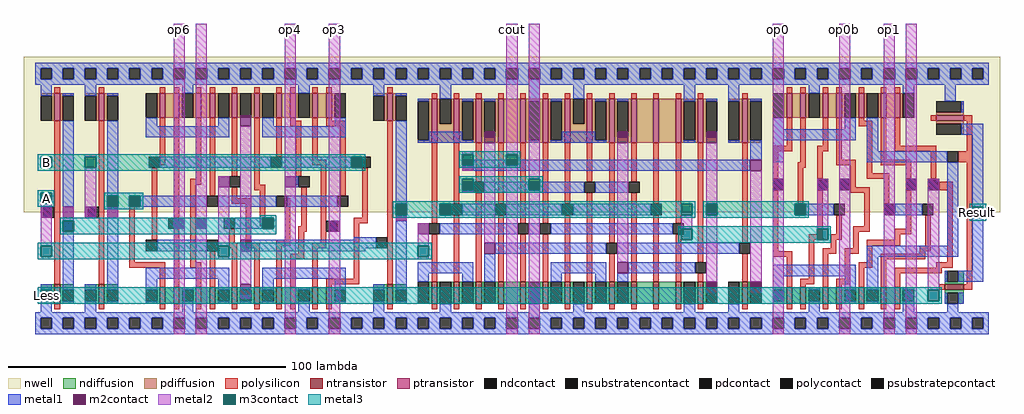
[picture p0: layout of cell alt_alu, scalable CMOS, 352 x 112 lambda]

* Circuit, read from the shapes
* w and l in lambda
.subckt alt_alu A B Gnd! Less Result Vdd! cin cout op0 op0b op1 op1b op3 op4 op5 op6
M1 mux4_dp_1x_0/s1b A Gnd! Gnd! nfet w=7 l=2
M2 mux4_dp_1x_0/s0b B Gnd! Gnd! nfet w=7 l=2
M3 n1 mux4_dp_1x_0/s0b n2 Gnd! nfet w=6 l=2
M4 Gnd! op6 n1 Gnd! nfet w=6 l=2
M5 n3 op5 Gnd! Gnd! nfet w=6 l=2
M6 n2 B n3 Gnd! nfet w=6 l=2
M7 n4 mux4_dp_1x_0/s1b n2 Gnd! nfet w=6 l=2
M8 n5 A n4 Gnd! nfet w=6 l=2
M9 n6 mux4_dp_1x_0/s0b n5 Gnd! nfet w=6 l=2
M10 Gnd! op4 n6 Gnd! nfet w=6 l=2
M11 n7 op3 Gnd! Gnd! nfet w=6 l=2
M12 n5 B n7 Gnd! nfet w=6 l=2
M13 fulladder_0/b n4 Gnd! Gnd! nfet w=7 l=2
M14 Gnd! A n8 Gnd! nfet w=8 l=2
M15 n8 fulladder_0/b Gnd! Gnd! nfet w=8 l=2
M16 n9 cin n8 Gnd! nfet w=8 l=2
M17 n10 fulladder_0/b n9 Gnd! nfet w=8 l=2
M18 Gnd! A n10 Gnd! nfet w=8 l=2
M19 n11 A Gnd! Gnd! nfet w=8 l=2
M20 Gnd! fulladder_0/b n11 Gnd! nfet w=8 l=2
M21 n11 cin Gnd! Gnd! nfet w=8 l=2
M22 n12 n9 n11 Gnd! nfet w=8 l=2
M23 n13 cin n12 Gnd! nfet w=8 l=2
M24 n14 fulladder_0/b n13 Gnd! nfet w=8 l=2
M25 Gnd! A n14 Gnd! nfet w=8 l=2
M26 mux3_dp_1x_0/d0 n12 Gnd! Gnd! nfet w=8 l=2
M27 cout n9 Gnd! Gnd! nfet w=8 l=2
M28 n15 op0 n16 Gnd! nfet w=6 l=2
M29 Gnd! fulladder_0/b n15 Gnd! nfet w=6 l=2
M30 n17 mux3_dp_1x_0/d0 Gnd! Gnd! nfet w=6 l=2
M31 n16 op0b n17 Gnd! nfet w=6 l=2
M32 n18 op1b n16 Gnd! nfet w=6 l=2
M33 n19 op1 n18 Gnd! nfet w=6 l=2
M34 Gnd! Less n19 Gnd! nfet w=6 l=2
M35 Result n18 Gnd! Gnd! nfet w=7 l=2
M36 mux4_dp_1x_0/s1b A Vdd! Vdd! pfet w=10 l=2
M37 mux4_dp_1x_0/s0b B Vdd! Vdd! pfet w=10 l=2
M38 n20 B n21 Vdd! pfet w=9 l=2
M39 Vdd! op6 n20 Vdd! pfet w=9 l=2
M40 n22 op5 Vdd! Vdd! pfet w=9 l=2
M41 n21 mux4_dp_1x_0/s0b n22 Vdd! pfet w=9 l=2
M42 n4 A n21 Vdd! pfet w=9 l=2
M43 n23 mux4_dp_1x_0/s1b n4 Vdd! pfet w=9 l=2
M44 n24 B n23 Vdd! pfet w=9 l=2
M45 Vdd! op4 n24 Vdd! pfet w=9 l=2
M46 n25 op3 Vdd! Vdd! pfet w=9 l=2
M47 n23 mux4_dp_1x_0/s0b n25 Vdd! pfet w=9 l=2
M48 fulladder_0/b n4 Vdd! Vdd! pfet w=10 l=2
M49 Vdd! A n26 Vdd! pfet w=16 l=2
M50 n26 fulladder_0/b Vdd! Vdd! pfet w=16 l=2
M51 n9 cin n26 Vdd! pfet w=16 l=2
M52 n27 fulladder_0/b n9 Vdd! pfet w=16 l=2
M53 Vdd! A n27 Vdd! pfet w=16 l=2
M54 n28 A Vdd! Vdd! pfet w=16 l=2
M55 Vdd! fulladder_0/b n28 Vdd! pfet w=16 l=2
M56 n28 cin Vdd! Vdd! pfet w=16 l=2
M57 n12 n9 n28 Vdd! pfet w=16 l=2
M58 n29 cin n12 Vdd! pfet w=16 l=2
M59 n30 fulladder_0/b n29 Vdd! pfet w=16 l=2
M60 Vdd! A n30 Vdd! pfet w=16 l=2
M61 mux3_dp_1x_0/d0 n12 Vdd! Vdd! pfet w=16 l=2
M62 cout n9 Vdd! Vdd! pfet w=16 l=2
M63 n31 op0 n32 Vdd! pfet w=9 l=2
M64 Vdd! mux3_dp_1x_0/d0 n31 Vdd! pfet w=9 l=2
M65 n33 fulladder_0/b Vdd! Vdd! pfet w=9 l=2
M66 n32 op0b n33 Vdd! pfet w=9 l=2
M67 n18 op1 n32 Vdd! pfet w=9 l=2
M68 n34 op1b n18 Vdd! pfet w=9 l=2
M69 Vdd! Less n34 Vdd! pfet w=9 l=2
M70 Vdd! n18 Result Vdd! pfet w=10 l=2
.ends

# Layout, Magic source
magic
tech scmos
<< metal2 >>
rect 22 64 26 65
rect 6 32 10 47
rect 14 41 18 46
rect 22 42 26 60
rect 30 42 34 46
rect 14 36 18 37
rect 54 0 58 112
rect 62 0 66 112
rect 70 32 74 57
rect 70 27 74 28
rect 94 0 98 112
rect 110 0 114 112
rect 158 65 162 66
rect 158 59 162 61
rect 174 65 178 112
rect 158 51 162 52
rect 134 47 138 48
rect 134 41 138 43
rect 142 32 146 40
rect 142 27 146 28
rect 174 0 178 61
rect 182 56 186 112
rect 182 0 186 52
rect 237 38 241 43
rect 270 0 274 112
rect 286 38 290 56
rect 294 0 298 112
rect 310 0 314 112
rect 318 0 322 112
rect 326 16 330 56
<< m3contact >>
rect 6 60 10 64
rect 22 60 26 64
rect 6 47 10 51
rect 30 46 34 50
rect 38 46 42 50
rect 14 37 18 41
rect 6 28 10 32
rect 6 12 10 16
rect 86 38 90 42
rect 70 28 74 32
rect 118 60 122 64
rect 158 61 162 65
rect 174 61 178 65
rect 158 52 162 56
rect 134 43 138 47
rect 150 43 154 47
rect 142 28 146 32
rect 182 52 186 56
rect 237 43 241 47
rect 246 43 250 47
rect 237 34 241 38
rect 278 43 282 47
rect 286 34 290 38
rect 342 42 346 46
rect 326 12 330 16
<< metal3 >>
rect 157 65 179 66
rect 5 64 123 65
rect 5 60 6 64
rect 10 60 22 64
rect 26 60 118 64
rect 122 60 123 64
rect 157 61 158 65
rect 162 61 174 65
rect 178 61 179 65
rect 157 60 179 61
rect 5 59 123 60
rect 157 56 187 57
rect 157 52 158 56
rect 162 52 182 56
rect 186 52 187 56
rect 5 51 11 52
rect 157 51 187 52
rect 5 47 6 51
rect 10 47 11 51
rect 5 46 11 47
rect 29 50 43 51
rect 29 46 30 50
rect 34 46 38 50
rect 42 46 43 50
rect 29 45 43 46
rect 133 47 242 48
rect 133 43 134 47
rect 138 43 150 47
rect 154 43 237 47
rect 241 43 242 47
rect 85 42 91 43
rect 133 42 242 43
rect 245 47 283 48
rect 245 43 246 47
rect 250 43 278 47
rect 282 43 283 47
rect 245 42 283 43
rect 341 46 347 47
rect 341 42 342 46
rect 346 42 347 46
rect 13 41 86 42
rect 13 37 14 41
rect 18 38 86 41
rect 90 38 91 42
rect 341 41 347 42
rect 18 37 91 38
rect 13 36 91 37
rect 236 38 291 39
rect 236 34 237 38
rect 241 34 286 38
rect 290 34 291 38
rect 236 33 291 34
rect 5 32 147 33
rect 5 28 6 32
rect 10 28 70 32
rect 74 28 142 32
rect 146 28 147 32
rect 5 27 147 28
rect 5 16 331 17
rect 5 12 6 16
rect 10 12 326 16
rect 330 12 331 16
rect 5 11 331 12
use inv_1x  inv_1x_0
transform 1 0 6 0 1 4
box -6 -4 18 96
use inv_1x  inv_1x_1
transform 1 0 22 0 1 4
box -6 -4 18 96
use mux4_dp_1x  mux4_dp_1x_0
transform 1 0 38 0 1 4
box -6 -4 106 96
use fulladder  fulladder_0
transform 1 0 144 0 1 4
box -8 -4 128 96
use mux3_dp_1x  mux3_dp_1x_0
transform 1 0 270 0 1 4
box -6 -4 82 96
<< labels >>
rlabel m3contact 8 62 8 62 1 B
rlabel m3contact 8 49 8 49 1 A
rlabel m3contact 344 44 344 44 1 Result
rlabel m3contact 8 14 8 14 1 Less
rlabel metal2 56 110 56 110 5 op6
rlabel metal2 64 110 64 110 5 op5
rlabel metal2 96 110 96 110 5 op4
rlabel metal2 112 110 112 110 5 op3
rlabel metal2 176 110 176 110 5 cout
rlabel metal2 184 110 184 110 5 cin
rlabel metal2 272 110 272 110 5 op0
rlabel metal2 296 110 296 110 5 op0b
rlabel metal2 312 110 312 110 5 op1
rlabel metal2 320 110 320 110 5 op1b
<< end >>

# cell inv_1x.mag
magic
tech scmos
<< nwell >>
rect -6 40 18 96
<< ntransistor >>
rect 5 7 7 14
<< ptransistor >>
rect 5 73 7 83
<< ndiffusion >>
rect 0 12 5 14
rect 4 8 5 12
rect 0 7 5 8
rect 7 12 12 14
rect 7 8 8 12
rect 7 7 12 8
<< pdiffusion >>
rect 0 82 5 83
rect 4 73 5 82
rect 7 82 12 83
rect 7 73 8 82
<< ndcontact >>
rect 0 8 4 12
rect 8 8 12 12
<< pdcontact >>
rect 0 73 4 82
rect 8 73 12 82
<< psubstratepcontact >>
rect 0 -2 4 2
rect 8 -2 12 2
<< nsubstratencontact >>
rect 0 88 4 92
rect 8 88 12 92
<< polysilicon >>
rect 5 83 7 85
rect 5 14 7 73
rect 5 5 7 7
<< polycontact >>
rect 1 38 5 42
<< metal1 >>
rect -2 92 14 94
rect -2 88 0 92
rect 4 88 8 92
rect 12 88 14 92
rect -2 86 14 88
rect 0 82 4 86
rect 8 82 12 83
rect 8 42 12 73
rect 0 12 4 14
rect 0 4 4 8
rect 8 12 12 38
rect 8 7 12 8
rect -2 2 14 4
rect -2 -2 0 2
rect 4 -2 8 2
rect 12 -2 14 2
rect -2 -4 14 -2
<< m2contact >>
rect 0 38 1 42
rect 1 38 4 42
rect 8 38 12 42
<< labels >>
rlabel m2contact 1 40 1 40 1 a
rlabel m2contact 10 40 10 40 1 y
rlabel metal1 -1 0 -1 0 3 Gnd!
rlabel metal1 -1 90 -1 90 3 Vdd!
<< end >>

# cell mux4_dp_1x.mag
magic
tech scmos
<< nwell >>
rect -6 40 106 96
<< ntransistor >>
rect 11 7 13 13
rect 16 7 18 13
rect 24 7 26 13
rect 29 7 31 13
rect 37 7 39 13
rect 45 7 47 13
rect 53 7 55 13
rect 58 7 60 13
rect 66 7 68 13
rect 71 7 73 13
rect 93 7 95 14
<< ptransistor >>
rect 11 74 13 83
rect 16 74 18 83
rect 24 74 26 83
rect 29 74 31 83
rect 37 74 39 83
rect 45 74 47 83
rect 53 74 55 83
rect 58 74 60 83
rect 66 74 68 83
rect 71 74 73 83
rect 93 73 95 83
<< ndiffusion >>
rect 6 12 11 13
rect 10 8 11 12
rect 6 7 11 8
rect 13 7 16 13
rect 18 12 24 13
rect 18 8 19 12
rect 23 8 24 12
rect 18 7 24 8
rect 26 7 29 13
rect 31 12 37 13
rect 31 8 32 12
rect 36 8 37 12
rect 31 7 37 8
rect 39 12 45 13
rect 39 8 40 12
rect 44 8 45 12
rect 39 7 45 8
rect 47 12 53 13
rect 47 8 48 12
rect 52 8 53 12
rect 47 7 53 8
rect 55 7 58 13
rect 60 12 66 13
rect 60 8 61 12
rect 65 8 66 12
rect 60 7 66 8
rect 68 7 71 13
rect 73 12 78 13
rect 73 8 74 12
rect 73 7 78 8
rect 88 12 93 14
rect 92 8 93 12
rect 88 7 93 8
rect 95 12 100 14
rect 95 8 96 12
rect 95 7 100 8
<< pdiffusion >>
rect 10 74 11 83
rect 13 74 16 83
rect 18 74 19 83
rect 23 74 24 83
rect 26 74 29 83
rect 31 74 32 83
rect 36 74 37 83
rect 39 74 40 83
rect 44 74 45 83
rect 47 74 48 83
rect 52 74 53 83
rect 55 74 58 83
rect 60 74 61 83
rect 65 74 66 83
rect 68 74 71 83
rect 73 74 74 83
rect 88 82 93 83
rect 92 73 93 82
rect 95 82 100 83
rect 95 73 96 82
<< ndcontact >>
rect 6 8 10 12
rect 19 8 23 12
rect 32 8 36 12
rect 40 8 44 12
rect 48 8 52 12
rect 61 8 65 12
rect 74 8 78 12
rect 88 8 92 12
rect 96 8 100 12
<< pdcontact >>
rect 6 74 10 83
rect 19 74 23 83
rect 32 74 36 83
rect 40 74 44 83
rect 48 74 52 83
rect 61 74 65 83
rect 74 74 78 83
rect 88 73 92 82
rect 96 73 100 82
<< psubstratepcontact >>
rect 0 -2 4 2
rect 8 -2 12 2
rect 16 -2 20 2
rect 24 -2 28 2
rect 32 -2 36 2
rect 40 -2 44 2
rect 48 -2 52 2
rect 56 -2 60 2
rect 64 -2 68 2
rect 72 -2 76 2
rect 80 -2 84 2
rect 88 -2 92 2
rect 96 -2 100 2
<< nsubstratencontact >>
rect 0 88 4 92
rect 8 88 12 92
rect 16 88 20 92
rect 24 88 28 92
rect 32 88 36 92
rect 40 88 44 92
rect 48 88 52 92
rect 56 88 60 92
rect 64 88 68 92
rect 72 88 76 92
rect 80 88 84 92
rect 88 88 92 92
rect 96 88 100 92
<< polysilicon >>
rect 11 83 13 85
rect 16 83 18 85
rect 24 83 26 85
rect 29 83 31 85
rect 37 83 39 85
rect 45 83 47 85
rect 53 83 55 85
rect 58 83 60 85
rect 66 83 68 85
rect 71 83 73 85
rect 93 83 95 85
rect 11 57 13 74
rect 0 22 2 42
rect 8 30 10 56
rect 16 38 18 74
rect 24 52 26 74
rect 0 20 13 22
rect 11 13 13 20
rect 16 13 18 34
rect 22 50 26 52
rect 22 22 24 50
rect 29 46 31 74
rect 37 53 39 74
rect 45 50 47 74
rect 53 60 55 74
rect 58 73 60 74
rect 58 71 62 73
rect 60 53 62 71
rect 66 59 68 74
rect 71 73 73 74
rect 71 71 78 73
rect 66 57 71 59
rect 60 50 61 53
rect 37 45 39 49
rect 45 48 49 50
rect 37 43 44 45
rect 36 29 38 34
rect 42 29 44 43
rect 47 38 49 48
rect 57 42 58 45
rect 47 35 48 38
rect 56 30 58 42
rect 62 35 64 49
rect 36 27 39 29
rect 42 27 47 29
rect 22 20 26 22
rect 24 13 26 20
rect 29 13 31 26
rect 37 13 39 27
rect 45 13 47 27
rect 53 28 58 30
rect 61 33 64 35
rect 53 13 55 28
rect 61 25 63 33
rect 69 29 71 57
rect 76 46 78 71
rect 84 38 86 56
rect 75 33 76 37
rect 81 36 86 38
rect 58 23 63 25
rect 66 27 71 29
rect 58 13 60 23
rect 66 13 68 27
rect 81 16 83 36
rect 71 14 83 16
rect 93 14 95 73
rect 71 13 73 14
rect 11 5 13 7
rect 16 5 18 7
rect 24 5 26 7
rect 29 5 31 7
rect 37 5 39 7
rect 45 5 47 7
rect 53 5 55 7
rect 58 5 60 7
rect 66 5 68 7
rect 71 5 73 7
rect 93 5 95 7
<< polycontact >>
rect 7 56 11 60
rect 0 42 4 46
rect 14 34 18 38
rect 6 26 10 30
rect 36 49 40 53
rect 51 56 55 60
rect 28 42 32 46
rect 61 49 65 53
rect 24 34 28 38
rect 34 34 38 38
rect 28 26 32 30
rect 53 42 57 46
rect 48 34 52 38
rect 83 56 87 60
rect 75 42 79 46
rect 71 33 75 37
rect 89 27 93 31
<< metal1 >>
rect -2 92 102 94
rect -2 88 0 92
rect 4 88 8 92
rect 12 88 16 92
rect 20 88 24 92
rect 28 88 32 92
rect 36 88 40 92
rect 44 88 48 92
rect 52 88 56 92
rect 60 88 64 92
rect 68 88 72 92
rect 76 88 80 92
rect 84 88 88 92
rect 92 88 96 92
rect 100 88 102 92
rect -2 86 102 88
rect 19 83 23 86
rect 61 83 65 86
rect 6 71 10 74
rect 32 71 36 74
rect 48 71 52 74
rect 74 71 78 74
rect 88 82 92 86
rect 96 82 100 83
rect 6 67 36 71
rect 48 67 78 71
rect 11 56 51 60
rect 55 56 80 60
rect 60 49 61 53
rect 4 42 28 46
rect 32 42 53 46
rect 57 42 75 46
rect 96 41 100 73
rect 38 34 48 38
rect 81 30 89 31
rect 10 26 28 30
rect 44 27 89 30
rect 44 26 85 27
rect 6 16 36 20
rect 6 12 10 16
rect 6 7 10 8
rect 19 12 23 13
rect 19 4 23 8
rect 32 12 36 16
rect 48 16 78 20
rect 32 7 36 8
rect 40 7 44 8
rect 48 12 52 16
rect 48 7 52 8
rect 61 12 65 13
rect 61 4 65 8
rect 74 12 78 16
rect 74 7 78 8
rect 88 12 92 14
rect 88 4 92 8
rect 96 12 100 37
rect 96 7 100 8
rect -2 2 102 4
rect -2 -2 0 2
rect 4 -2 8 2
rect 12 -2 16 2
rect 20 -2 24 2
rect 28 -2 32 2
rect 36 -2 40 2
rect 44 -2 48 2
rect 52 -2 56 2
rect 60 -2 64 2
rect 68 -2 72 2
rect 76 -2 80 2
rect 84 -2 88 2
rect 92 -2 96 2
rect 100 -2 102 2
rect -2 -4 102 -2
<< m2contact >>
rect 40 74 44 75
rect 40 71 44 74
rect 80 56 83 60
rect 83 56 84 60
rect 32 49 36 53
rect 56 49 60 53
rect 0 42 4 46
rect 16 34 18 38
rect 18 34 20 38
rect 24 34 28 38
rect 48 34 52 38
rect 96 37 100 41
rect 72 33 75 37
rect 75 33 76 37
rect 40 26 44 30
rect 40 12 44 14
rect 40 10 44 12
<< metal2 >>
rect 40 30 44 71
rect 40 14 44 26
rect 40 9 44 10
<< labels >>
rlabel metal1 -1 0 -1 0 3 Gnd!
rlabel m2contact 2 44 2 44 1 s0b
rlabel m2contact 18 36 18 36 1 d0
rlabel m2contact 26 36 26 36 1 d1
rlabel m2contact 34 51 34 51 1 s1
rlabel metal1 -1 90 -1 90 3 Vdd!
rlabel m2contact 58 51 58 51 1 d2
rlabel m2contact 82 58 82 58 1 s0
rlabel m2contact 98 39 98 39 1 y
rlabel m2contact 74 35 74 35 1 d3
rlabel m2contact 50 36 50 36 1 s1b
<< end >>

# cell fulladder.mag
magic
tech scmos
<< nwell >>
rect -8 40 128 96
<< ntransistor >>
rect 3 7 5 15
rect 11 7 13 15
rect 19 7 21 15
rect 27 7 29 15
rect 35 7 37 15
rect 43 7 45 15
rect 51 7 53 15
rect 59 7 61 15
rect 67 7 69 15
rect 75 7 77 15
rect 83 7 85 15
rect 91 7 93 15
rect 99 7 101 15
rect 115 7 117 15
<< ptransistor >>
rect 3 65 5 81
rect 11 65 13 81
rect 19 65 21 81
rect 27 65 29 81
rect 35 65 37 81
rect 43 65 45 81
rect 51 65 53 81
rect 59 65 61 81
rect 67 65 69 81
rect 75 65 77 81
rect 83 65 85 81
rect 91 65 93 81
rect 99 65 101 81
rect 115 65 117 81
<< ndiffusion >>
rect 2 7 3 15
rect 5 7 6 15
rect 10 7 11 15
rect 13 7 14 15
rect 18 7 19 15
rect 21 7 22 15
rect 26 7 27 15
rect 29 7 35 15
rect 37 7 38 15
rect 42 7 43 15
rect 45 7 46 15
rect 50 7 51 15
rect 53 7 54 15
rect 58 7 59 15
rect 61 7 62 15
rect 66 7 67 15
rect 69 7 70 15
rect 74 7 75 15
rect 77 7 83 15
rect 85 7 91 15
rect 93 7 94 15
rect 98 7 99 15
rect 101 7 102 15
rect 114 7 115 15
rect 117 7 118 15
<< pdiffusion >>
rect -2 80 3 81
rect 2 66 3 80
rect -2 65 3 66
rect 5 72 6 81
rect 10 72 11 81
rect 5 65 11 72
rect 13 80 19 81
rect 13 66 14 80
rect 18 66 19 80
rect 13 65 19 66
rect 21 80 27 81
rect 21 67 22 80
rect 26 67 27 80
rect 21 65 27 67
rect 29 65 35 81
rect 37 80 43 81
rect 37 66 38 80
rect 42 66 43 80
rect 37 65 43 66
rect 45 80 51 81
rect 45 66 46 80
rect 50 66 51 80
rect 45 65 51 66
rect 53 72 54 81
rect 58 72 59 81
rect 53 65 59 72
rect 61 80 67 81
rect 61 66 62 80
rect 66 66 67 80
rect 61 65 67 66
rect 69 80 75 81
rect 69 67 70 80
rect 74 67 75 80
rect 69 65 75 67
rect 77 65 83 81
rect 85 65 91 81
rect 93 80 99 81
rect 93 66 94 80
rect 98 66 99 80
rect 93 65 99 66
rect 101 80 106 81
rect 101 67 102 80
rect 101 65 106 67
rect 110 80 115 81
rect 114 66 115 80
rect 110 65 115 66
rect 117 80 122 81
rect 117 66 118 80
rect 117 65 122 66
<< ndcontact >>
rect -2 7 2 15
rect 6 7 10 15
rect 14 7 18 15
rect 22 7 26 15
rect 38 7 42 15
rect 46 7 50 15
rect 54 7 58 15
rect 62 7 66 15
rect 70 7 74 15
rect 94 7 98 15
rect 102 7 106 15
rect 110 7 114 15
rect 118 7 122 15
<< pdcontact >>
rect -2 66 2 80
rect 6 72 10 81
rect 14 66 18 80
rect 22 67 26 80
rect 38 66 42 80
rect 46 66 50 80
rect 54 72 58 81
rect 62 66 66 80
rect 70 67 74 80
rect 94 66 98 80
rect 102 67 106 80
rect 110 66 114 80
rect 118 66 122 80
<< psubstratepcontact >>
rect -2 -2 2 2
rect 6 -2 10 2
rect 14 -2 18 2
rect 22 -2 26 2
rect 30 -2 34 2
rect 38 -2 42 2
rect 46 -2 50 2
rect 54 -2 58 2
rect 62 -2 66 2
rect 70 -2 74 2
rect 78 -2 82 2
rect 86 -2 90 2
rect 94 -2 98 2
rect 102 -2 106 2
rect 110 -2 114 2
rect 118 -2 122 2
<< nsubstratencontact >>
rect -2 88 2 92
rect 6 88 10 92
rect 14 88 18 92
rect 22 88 26 92
rect 30 88 34 92
rect 38 88 42 92
rect 46 88 50 92
rect 54 88 58 92
rect 62 88 66 92
rect 70 88 74 92
rect 78 88 82 92
rect 86 88 90 92
rect 94 88 98 92
rect 102 88 106 92
rect 110 88 114 92
rect 118 88 122 92
<< polysilicon >>
rect 3 81 5 83
rect 11 81 13 83
rect 19 81 21 83
rect 27 81 29 83
rect 35 81 37 83
rect 43 81 45 83
rect 51 81 53 83
rect 59 81 61 83
rect 67 81 69 83
rect 75 81 77 83
rect 83 81 85 83
rect 91 81 93 83
rect 99 81 101 83
rect 115 81 117 83
rect 3 36 5 65
rect 11 43 13 65
rect 19 51 21 65
rect 3 15 5 32
rect 11 15 13 39
rect 19 15 21 47
rect 27 43 29 65
rect 27 15 29 39
rect 35 36 37 65
rect 43 36 45 65
rect 51 43 53 65
rect 59 51 61 65
rect 35 15 37 32
rect 43 15 45 32
rect 51 15 53 39
rect 59 15 61 47
rect 67 29 69 65
rect 75 51 77 65
rect 67 15 69 25
rect 75 15 77 47
rect 83 43 85 65
rect 83 15 85 39
rect 91 36 93 65
rect 91 15 93 32
rect 99 22 101 65
rect 115 29 117 65
rect 99 15 101 18
rect 115 15 117 25
rect 3 5 5 7
rect 11 5 13 7
rect 19 5 21 7
rect 27 5 29 7
rect 35 5 37 7
rect 43 5 45 7
rect 51 5 53 7
rect 59 5 61 7
rect 67 5 69 7
rect 75 5 77 7
rect 83 5 85 7
rect 91 5 93 7
rect 99 5 101 7
rect 115 5 117 7
<< polycontact >>
rect 18 47 22 51
rect 10 39 14 43
rect 2 32 6 36
rect 26 39 30 43
rect 58 47 62 51
rect 50 39 54 43
rect 34 32 38 36
rect 42 32 46 36
rect 74 47 78 51
rect 66 25 70 29
rect 82 39 86 43
rect 90 32 94 36
rect 114 25 118 29
rect 98 18 102 22
<< metal1 >>
rect -4 92 124 94
rect -4 88 -2 92
rect 2 88 6 92
rect 10 88 14 92
rect 18 88 22 92
rect 26 88 30 92
rect 34 88 38 92
rect 42 88 46 92
rect 50 88 54 92
rect 58 88 62 92
rect 66 88 70 92
rect 74 88 78 92
rect 82 88 86 92
rect 90 88 94 92
rect 98 88 102 92
rect 106 88 110 92
rect 114 88 118 92
rect 122 88 124 92
rect -4 86 124 88
rect 6 81 10 86
rect -2 80 2 81
rect 14 80 18 81
rect 2 66 14 69
rect -2 65 18 66
rect 22 80 26 81
rect 38 80 42 86
rect 54 81 58 86
rect 38 65 42 66
rect 46 80 50 81
rect 62 80 66 81
rect 50 66 62 69
rect 46 65 66 66
rect 70 80 74 81
rect 94 80 98 86
rect 94 65 98 66
rect 102 80 106 81
rect 110 80 114 86
rect 110 65 114 66
rect 118 80 122 81
rect 118 59 122 66
rect 18 55 118 59
rect 22 47 58 51
rect 62 47 74 51
rect 14 39 26 43
rect 30 39 50 43
rect 54 39 82 43
rect 6 32 34 36
rect 38 32 42 36
rect 46 32 90 36
rect 26 25 66 29
rect 70 25 114 29
rect -2 18 18 22
rect -2 15 2 18
rect 14 15 18 18
rect 22 15 26 25
rect 46 18 66 22
rect 46 15 50 18
rect 62 15 66 18
rect 74 18 98 22
rect 70 15 74 18
rect 6 4 10 7
rect 38 4 42 7
rect 54 4 58 7
rect 94 4 98 7
rect 110 4 114 7
rect -4 2 124 4
rect -4 -2 -2 2
rect 2 -2 6 2
rect 10 -2 14 2
rect 18 -2 22 2
rect 26 -2 30 2
rect 34 -2 38 2
rect 42 -2 46 2
rect 50 -2 54 2
rect 58 -2 62 2
rect 66 -2 70 2
rect 74 -2 78 2
rect 82 -2 86 2
rect 90 -2 94 2
rect 98 -2 102 2
rect 106 -2 110 2
rect 114 -2 118 2
rect 122 -2 124 2
rect -4 -4 124 -2
<< m2contact >>
rect 22 67 26 69
rect 22 65 26 67
rect 70 67 74 69
rect 70 65 74 67
rect 102 67 106 69
rect 102 65 106 67
rect 14 55 18 59
rect 118 55 122 59
rect 14 47 18 51
rect 6 39 10 43
rect -2 32 2 36
rect 22 25 26 29
rect 70 18 74 22
rect 102 11 106 15
rect 118 11 122 15
<< metal2 >>
rect 22 29 26 65
rect 70 22 74 65
rect 102 15 106 65
rect 118 15 122 55
<< labels >>
rlabel m2contact 0 34 0 34 1 a
rlabel m2contact 8 41 8 41 1 b
rlabel m2contact 16 49 16 49 1 c
rlabel m2contact 16 57 16 57 1 cout
rlabel m2contact 104 13 104 13 1 s
rlabel metal1 4 89 4 89 1 Vdd!
rlabel metal1 4 -1 4 -1 1 Gnd!
<< end >>

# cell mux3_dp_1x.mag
magic
tech scmos
<< nwell >>
rect -6 40 82 96
<< ntransistor >>
rect 5 7 7 13
rect 10 7 12 13
rect 18 7 20 13
rect 23 7 25 13
rect 31 7 33 13
rect 39 7 41 13
rect 44 7 46 13
rect 62 12 69 14
<< ptransistor >>
rect 5 74 7 83
rect 10 74 12 83
rect 18 74 20 83
rect 23 74 25 83
rect 31 74 33 83
rect 39 74 41 83
rect 44 74 46 83
rect 59 73 69 75
<< ndiffusion >>
rect 62 15 63 19
rect 67 15 69 19
rect 62 14 69 15
rect 0 12 5 13
rect 4 8 5 12
rect 0 7 5 8
rect 7 7 10 13
rect 12 12 18 13
rect 12 8 13 12
rect 17 8 18 12
rect 12 7 18 8
rect 20 7 23 13
rect 25 12 31 13
rect 25 8 26 12
rect 30 8 31 12
rect 25 7 31 8
rect 33 12 39 13
rect 33 8 34 12
rect 38 8 39 12
rect 33 7 39 8
rect 41 7 44 13
rect 46 12 51 13
rect 46 8 47 12
rect 46 7 51 8
rect 62 11 69 12
rect 62 7 63 11
rect 67 7 69 11
<< pdiffusion >>
rect 4 74 5 83
rect 7 74 10 83
rect 12 74 13 83
rect 17 74 18 83
rect 20 74 23 83
rect 25 74 26 83
rect 30 74 31 83
rect 33 74 34 83
rect 38 74 39 83
rect 41 74 44 83
rect 46 74 47 83
rect 68 76 69 80
rect 59 75 69 76
rect 59 72 69 73
rect 68 68 69 72
<< ndcontact >>
rect 63 15 67 19
rect 0 8 4 12
rect 13 8 17 12
rect 26 8 30 12
rect 34 8 38 12
rect 47 8 51 12
rect 63 7 67 11
<< pdcontact >>
rect 0 74 4 83
rect 13 74 17 83
rect 26 74 30 83
rect 34 74 38 83
rect 47 74 51 83
rect 59 76 68 80
rect 59 68 68 72
<< psubstratepcontact >>
rect 0 -2 4 2
rect 8 -2 12 2
rect 16 -2 20 2
rect 24 -2 28 2
rect 32 -2 36 2
rect 40 -2 44 2
rect 48 -2 52 2
rect 56 -2 60 2
rect 64 -2 68 2
rect 72 -2 76 2
<< nsubstratencontact >>
rect 0 88 4 92
rect 8 88 12 92
rect 16 88 20 92
rect 24 88 28 92
rect 32 88 36 92
rect 40 88 44 92
rect 48 88 52 92
rect 56 88 60 92
rect 64 88 68 92
rect 72 88 76 92
<< polysilicon >>
rect 5 83 7 85
rect 10 83 12 85
rect 18 83 20 85
rect 23 83 25 85
rect 31 83 33 85
rect 39 83 41 85
rect 44 83 46 85
rect 5 64 7 74
rect 0 62 7 64
rect 0 52 2 62
rect 10 58 12 74
rect 18 64 20 74
rect 9 56 12 58
rect 16 62 20 64
rect 0 26 2 48
rect 9 43 11 56
rect 16 52 18 62
rect 23 59 25 74
rect 31 73 33 74
rect 31 71 36 73
rect 23 57 30 59
rect 28 49 30 57
rect 34 54 36 71
rect 39 59 41 74
rect 44 64 46 74
rect 57 73 59 75
rect 69 73 72 75
rect 44 62 59 64
rect 70 62 72 73
rect 39 57 50 59
rect 34 52 42 54
rect 16 32 18 48
rect 28 47 35 49
rect 23 32 25 39
rect 33 35 35 47
rect 40 43 42 52
rect 48 52 50 57
rect 57 52 59 62
rect 67 58 72 62
rect 60 48 65 51
rect 13 30 18 32
rect 21 30 25 32
rect 29 33 35 35
rect 48 34 50 48
rect 0 24 7 26
rect 5 13 7 24
rect 13 16 15 30
rect 21 27 23 30
rect 29 27 31 33
rect 44 32 50 34
rect 44 30 46 32
rect 10 14 15 16
rect 18 25 23 27
rect 26 25 31 27
rect 34 28 46 30
rect 55 28 57 39
rect 10 13 12 14
rect 18 13 20 25
rect 26 16 28 25
rect 34 22 36 28
rect 53 26 57 28
rect 53 25 55 26
rect 23 14 28 16
rect 31 20 36 22
rect 39 23 55 25
rect 23 13 25 14
rect 31 13 33 20
rect 39 13 41 23
rect 63 22 65 48
rect 59 20 65 22
rect 44 18 61 20
rect 44 13 46 18
rect 70 14 72 58
rect 60 12 62 14
rect 69 12 72 14
rect 5 5 7 7
rect 10 5 12 7
rect 18 5 20 7
rect 23 5 25 7
rect 31 5 33 7
rect 39 5 41 7
rect 44 5 46 7
<< polycontact >>
rect 0 48 4 52
rect 16 48 20 52
rect 24 48 28 52
rect 8 39 12 43
rect 22 39 26 43
rect 63 58 67 62
rect 48 48 52 52
rect 56 48 60 52
rect 40 39 44 43
rect 54 39 58 43
<< metal1 >>
rect -2 92 78 94
rect -2 88 0 92
rect 4 88 8 92
rect 12 88 16 92
rect 20 88 24 92
rect 28 88 32 92
rect 36 88 40 92
rect 44 88 48 92
rect 52 88 56 92
rect 60 88 64 92
rect 68 88 72 92
rect 76 88 78 92
rect -2 86 78 88
rect 13 83 17 86
rect 47 83 51 86
rect 0 70 4 74
rect 26 70 30 74
rect 0 66 30 70
rect 62 80 66 86
rect 68 76 69 80
rect 0 58 4 66
rect 34 62 38 74
rect 68 68 76 72
rect 34 58 63 62
rect 12 39 22 43
rect 44 39 54 43
rect 63 28 67 58
rect 34 24 67 28
rect 72 42 76 68
rect 0 17 30 21
rect 0 12 4 17
rect 0 7 4 8
rect 13 12 17 13
rect 13 4 17 8
rect 26 12 30 17
rect 26 7 30 8
rect 34 12 38 24
rect 72 19 76 38
rect 62 15 63 19
rect 67 15 76 19
rect 34 7 38 8
rect 47 12 51 13
rect 47 4 51 8
rect 62 7 63 11
rect 67 7 69 11
rect 63 4 67 7
rect -2 2 78 4
rect -2 -2 0 2
rect 4 -2 8 2
rect 12 -2 16 2
rect 20 -2 24 2
rect 28 -2 32 2
rect 36 -2 40 2
rect 44 -2 48 2
rect 52 -2 56 2
rect 60 -2 64 2
rect 68 -2 72 2
rect 76 -2 78 2
rect -2 -4 78 -2
<< m2contact >>
rect 0 48 4 52
rect 16 48 20 52
rect 24 48 28 52
rect 48 48 52 52
rect 56 48 60 52
rect 8 39 12 43
rect 40 39 44 43
rect 72 38 76 42
<< labels >>
rlabel m2contact 2 50 2 50 1 s0
rlabel m2contact 18 50 18 50 1 d1
rlabel m2contact 26 50 26 50 1 s0b
rlabel m2contact 50 50 50 50 1 s1b
rlabel m2contact 58 50 58 50 1 d2
rlabel m2contact 74 40 74 40 1 y
rlabel m2contact 42 41 42 41 1 s1
rlabel m2contact 10 41 10 41 1 d0
rlabel metal1 -1 89 -1 89 3 Vdd!
rlabel metal1 -1 0 -1 0 2 Gnd!
<< end >>
